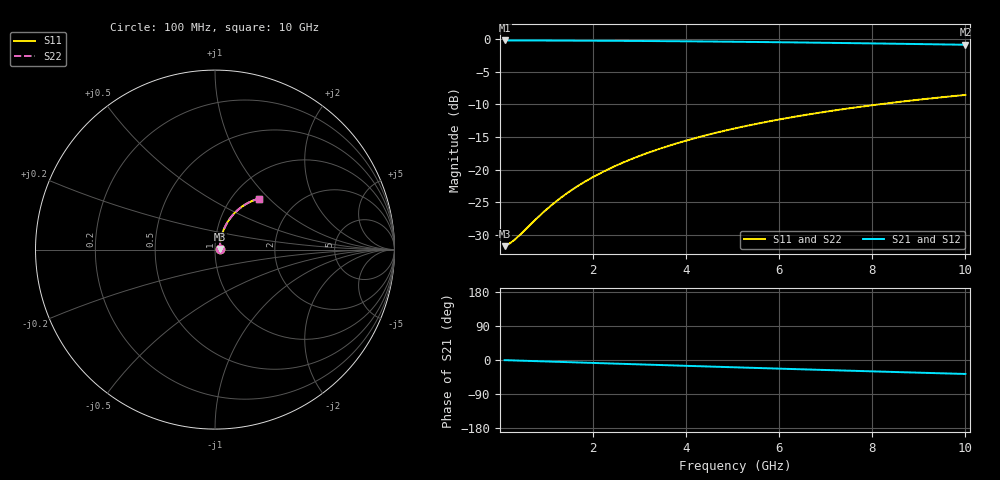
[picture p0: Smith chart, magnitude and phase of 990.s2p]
# Hz S RI R 50.00
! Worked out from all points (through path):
!   100 points, 100 MHz to 10 GHz, reference 50 ohm
!   highest |S21| = -0.23 dB at 100 MHz (marker M1); lowest = -0.9 dB at 10 GHz (marker M2)
!   group delay of S21, straight-line fit = 10.3 ps
!   lowest |S11| = -31.7 dB at 100 MHz (marker M3), VSWR 1.05, Z = 52.6 + j0.425 ohm
!   |S11| at or under -10 dB: start of sweep to 8.154 GHz
!   |S22| runs from -31.7 to -8.6 dB; largest |S21 - S12| = 1e-12
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1e8  0.0256 0.00404  0.9744 -0.00659  0.9744 -0.00659  0.0256 0.00404
2e8  0.0259 0.00807  0.9741 -0.0132  0.9741 -0.0132  0.0259 0.00807
3e8  0.0261 0.0121  0.9738 -0.0198  0.9738 -0.0198  0.0261 0.0121
4e8  0.0264 0.0161  0.9735 -0.0263  0.9735 -0.0263  0.0264 0.0161
9e8  0.0285 0.0361  0.9712 -0.0592  0.9712 -0.0592  0.0285 0.0361
1.2e9  0.0304 0.0481  0.9691 -0.0788  0.9691 -0.0788  0.0304 0.0481
1.5e9  0.0327 0.0599  0.9665 -0.0983  0.9665 -0.0983  0.0327 0.0599
1.8e9  0.0355 0.0716  0.9634 -0.1176  0.9634 -0.1176  0.0355 0.0716
2.1e9  0.0387 0.0831  0.9598 -0.1369  0.9598 -0.1369  0.0387 0.0831
2.5e9  0.0437 0.0983  0.9541 -0.1623  0.9541 -0.1623  0.0437 0.0983
2.9e9  0.0495 0.1131  0.9476 -0.1873  0.9476 -0.1873  0.0495 0.1131
3.4e9  0.0578 0.131  0.9383 -0.2181  0.9383 -0.2181  0.0578 0.131
3.8e9  0.0652 0.1449  0.9299 -0.2423  0.9299 -0.2423  0.0652 0.1449
4.2e9  0.0733 0.1583  0.9207 -0.2659  0.9207 -0.2659  0.0733 0.1583
4.6e9  0.0821 0.1712  0.9108 -0.2891  0.9108 -0.2891  0.0821 0.1712
5.1e9  0.0939 0.1865  0.8973 -0.3173  0.8973 -0.3173  0.0939 0.1865
5.9e9  0.1145 0.2091  0.8737 -0.3605  0.8737 -0.3605  0.1145 0.2091
6.7e9  0.1371 0.2292  0.8477 -0.4013  0.8477 -0.4013  0.1371 0.2292
7.5e9  0.1611 0.2466  0.8197 -0.4395  0.8197 -0.4395  0.1611 0.2466
8.4e9  0.1896 0.2629  0.7863 -0.4792  0.7863 -0.4792  0.1896 0.2629
9.2e9  0.2158 0.2745  0.7551 -0.5117  0.7551 -0.5117  0.2158 0.2745
1e10  0.2425 0.2834  0.723 -0.5415  0.723 -0.5415  0.2425 0.2834
